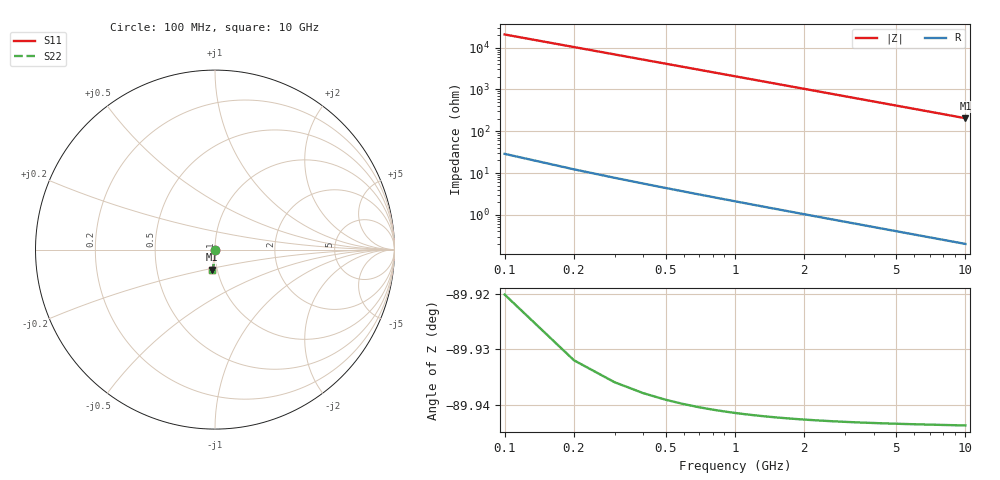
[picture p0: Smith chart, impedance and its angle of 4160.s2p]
# Hz S RI R 50.00
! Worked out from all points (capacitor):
!   100 points, 100 MHz to 10 GHz, reference 50 ohm
!   read as one part in shunt: C = 77.1 fF near 100 MHz
!   lowest |Z| = 205 ohm at 10 GHz (marker M1)
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1e8  3.35e-05 -0.00114  1 -0.00129  1 -0.00129  3.35e-05 -0.00114
2e8  2.82e-05 -0.00227  1 -0.00258  1 -0.00258  2.82e-05 -0.00227
3e8  1.99e-05 -0.00341  0.9999 -0.00387  0.9999 -0.00387  1.99e-05 -0.00341
4e8  8.62e-06 -0.00454  0.9999 -0.00515  0.9999 -0.00515  8.62e-06 -0.00454
5e8  -5.6e-06 -0.00568  0.9999 -0.00644  0.9999 -0.00644  -5.6e-06 -0.00568
6e8  -2.28e-05 -0.00681  0.9999 -0.00773  0.9999 -0.00773  -2.28e-05 -0.00681
7e8  -4.29e-05 -0.00795  0.9999 -0.00902  0.9999 -0.00902  -4.29e-05 -0.00795
8e8  -6.59e-05 -0.00908  0.9999 -0.0103  0.9999 -0.0103  -6.59e-05 -0.00908
9e8  -9.19e-05 -0.0102  0.9998 -0.0116  0.9998 -0.0116  -9.19e-05 -0.0102
1.1e9  -0.000153 -0.0125  0.9998 -0.0142  0.9998 -0.0142  -0.000153 -0.0125
1.4e9  -0.000266 -0.0159  0.9997 -0.018  0.9997 -0.018  -0.000266 -0.0159
1.8e9  -0.000458 -0.0204  0.9995 -0.0232  0.9995 -0.0232  -0.000458 -0.0204
2.1e9  -0.000632 -0.0238  0.9993 -0.0271  0.9993 -0.0271  -0.000632 -0.0238
2.5e9  -0.000907 -0.0284  0.999 -0.0322  0.999 -0.0322  -0.000907 -0.0284
2.9e9  -0.00123 -0.0329  0.9987 -0.0374  0.9987 -0.0374  -0.00123 -0.0329
3.4e9  -0.0017 -0.0386  0.9982 -0.0438  0.9982 -0.0438  -0.0017 -0.0386
4.2e9  -0.0026 -0.0477  0.9973 -0.0541  0.9973 -0.0541  -0.0026 -0.0477
5.1e9  -0.00384 -0.0579  0.9961 -0.0657  0.9961 -0.0657  -0.00384 -0.0579
5.9e9  -0.00514 -0.0669  0.9947 -0.076  0.9947 -0.076  -0.00514 -0.0669
6.7e9  -0.00663 -0.0759  0.9932 -0.0862  0.9932 -0.0862  -0.00663 -0.0759
8.4e9  -0.0104 -0.0949  0.9894 -0.1079  0.9894 -0.1079  -0.0104 -0.0949
1e10  -0.0147 -0.1127  0.9851 -0.1282  0.9851 -0.1282  -0.0147 -0.1127
